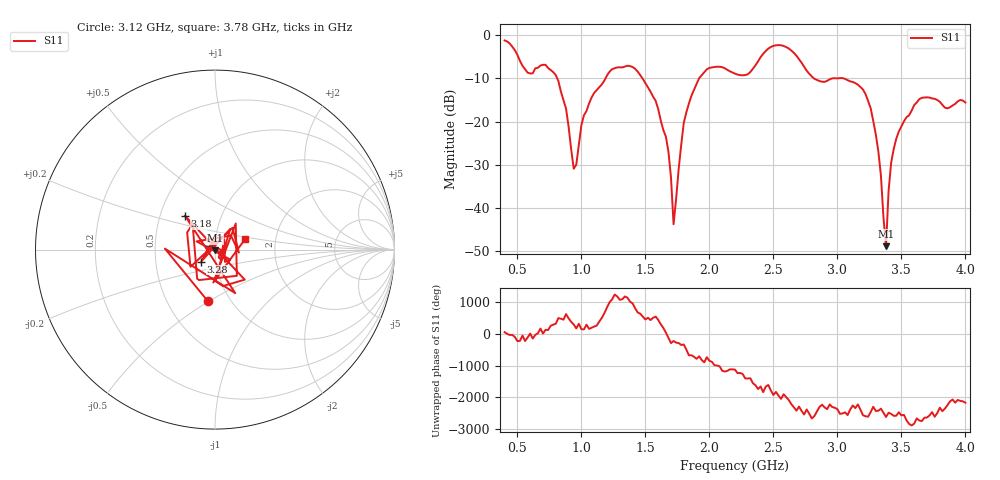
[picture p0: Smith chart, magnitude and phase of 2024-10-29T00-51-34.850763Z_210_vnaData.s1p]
!Created with skrf (http://scikit-rf.org).
# Hz S RI R 50.0
!freq ReS11 ImS11
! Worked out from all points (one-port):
!   181 points, 400 MHz to 4 GHz, reference 50 ohm
!   lowest |S11| = -48.8 dB at 3.38 GHz (marker M1), VSWR 1.01, Z = 49.9 - j0.357 ohm
!   |S11| at or under -10 dB: 811.4 MHz to 1.188 GHz (376.4 MHz wide, 37.7 % of centre); 1.478 GHz to 1.919 GHz (441 MHz wide, 26 % of centre); 3.049 GHz to end of sweep (the widest 3 of 4)
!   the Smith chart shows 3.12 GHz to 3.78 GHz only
!   S11 on the Smith chart (normalised r, x): 3.12 GHz: 0.79, -0.49; 3.18 GHz: 0.67, +0.27; 3.28 GHz: 0.85, -0.11; 3.78 GHz: 1.39, +0.17
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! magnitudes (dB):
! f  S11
! 400 MHz  -1.2
! 580 MHz  -8.7
! 780 MHz  -8.5
! 860 MHz  -15.0
! 940 MHz  -30.9
! 1.08 GHz  -14.4
! 1.3 GHz  -7.4
! 1.58 GHz  -15.2
! 1.68 GHz  -27.0
! 1.72 GHz  -43.7
! 1.76 GHz  -30.9
! 1.8 GHz  -20.2
! 1.92 GHz  -9.9
! 2.2 GHz  -8.9
! 2.5 GHz  -2.5
! 2.66 GHz  -4.1
! 2.82 GHz  -10.1
! 3.1 GHz  -10.7
! 3.12 GHz  -10.8
! 3.18 GHz  -12.0
! 3.28 GHz  -19.8
! 3.34 GHz  -32.5
! 3.38 GHz  -48.8
! 3.4 GHz  -36.0
! 3.42 GHz  -29.5
! 3.56 GHz  -18.5
! 3.78 GHz  -15.0
! 4 GHz  -15.6
